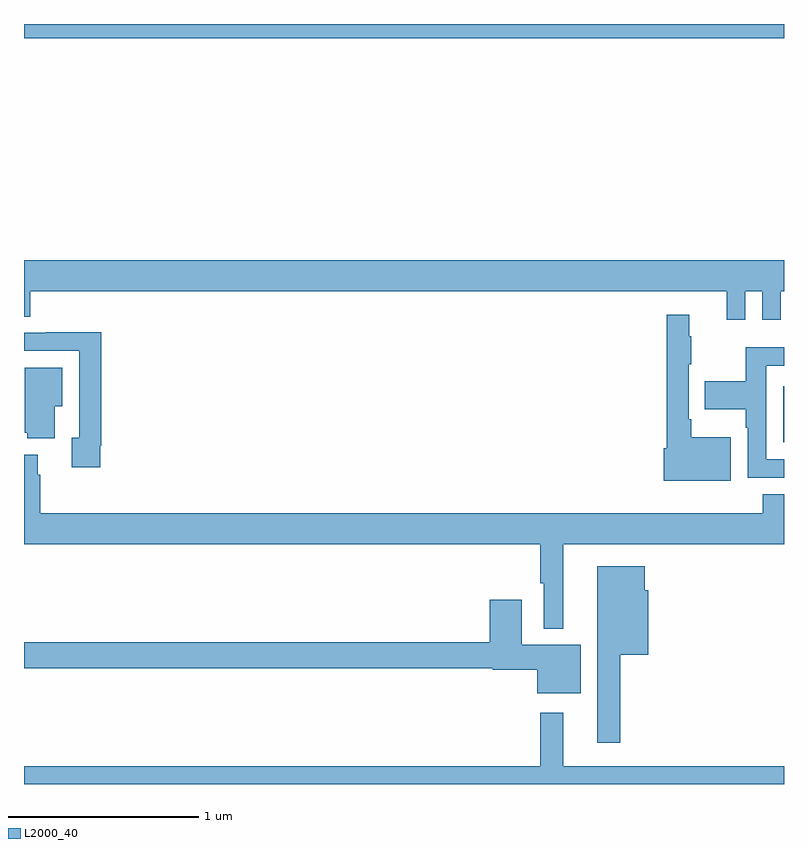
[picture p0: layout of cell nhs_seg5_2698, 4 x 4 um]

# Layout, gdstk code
import gdstk
lib = gdstk.Library(unit=1e-6, precision=1e-09)
def R(c, l, rs):  # rectangles x0, y0, x1, y1
    for r in rs: c.add(gdstk.rectangle(r[:2], r[2:], *l))
def P(c, l, *ps):  # polygons
    for p in ps: c.add(gdstk.Polygon(p, *l))
L2000_40 = (2000, 40)

nhs_seg5_2698 = lib.new_cell('nhs_seg5_2698')
R(nhs_seg5_2698, L2000_40, [(270.995,890.597,271,890.893), (267,892.724,271,892.799)])
P(nhs_seg5_2698, L2000_40, [(270.795,891.392),(270.885,891.392),(270.885,891.243),(270.983,891.243),(270.983,891.392),(271,891.392),(271,891.556),(267,891.556),(267,891.259),(267.032,891.259),(267.032,891.392),(270.698,891.392),(270.698,891.243),(270.795,891.243)],
  [(270.721,890.623),(270.511,890.623),(270.511,890.719),(270.498,890.719),(270.498,891.007),(270.511,891.007),(270.511,891.155),(270.5,891.155),(270.5,891.268),(270.382,891.268),(270.382,890.567),(270.368,890.567),(270.368,890.396),(270.721,890.396)],
  [(267.4,890.578),(267.407,890.578),(267.407,891.176),(267.115,891.176),(267.115,891.174),(267,891.174),(267,891.078),(267.291,891.078),(267.291,890.622),(267.251,890.622),(267.251,890.466),(267.4,890.466)],
  [(271,890.508),(270.906,890.508),(270.906,891),(271,891),(271,891.097),(270.798,891.097),(270.798,890.919),(270.583,890.919),(270.583,890.771),(270.798,890.771),(270.798,890.675),(270.81,890.675),(270.81,890.412),(271,890.412)],
  [(267.163,890.786),(267.202,890.786),(267.202,890.989),(267.005,890.989),(267.005,890.649),(267.017,890.649),(267.017,890.618),(267.163,890.618)],
  [(269.839,890.06),(271,890.06),(271,890.323),(270.887,890.323),(270.887,890.224),(267.086,890.224),(267.086,890.426),(267.073,890.426),(267.073,890.533),(267,890.533),(267,890.06),(269.718,890.06),(269.718,889.855),(269.735,889.855),(269.735,889.616),(269.839,889.616)],
  [(270.139,889.478),(270.286,889.478),(270.286,889.818),(270.268,889.818),(270.268,889.945),(270.017,889.945),(270.017,889.017),(270.139,889.017)],
  [(269.929,889.531),(269.62,889.531),(269.62,889.768),(269.45,889.768),(269.45,889.544),(267,889.544),(267,889.408),(269.466,889.408),(269.466,889.4),(269.702,889.4),(269.702,889.277),(269.929,889.277)],
  [(271,888.892),(269.839,888.892),(269.839,889.174),(269.718,889.174),(269.718,888.892),(267,888.892),(267,888.799),(271,888.799)])

lib.write_gds('nhs_seg5_2698.gds')
